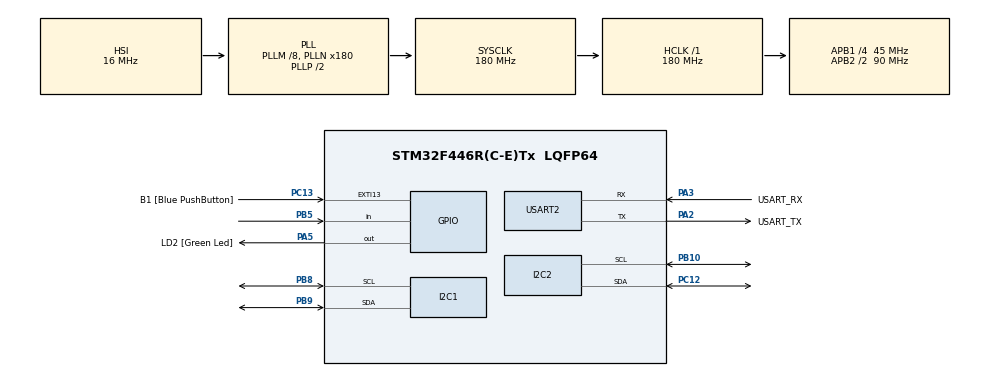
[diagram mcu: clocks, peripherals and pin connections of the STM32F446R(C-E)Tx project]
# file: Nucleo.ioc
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I2C2.I2C_Mode=I2C_Fast
Mcu.Family=STM32F4
Mcu.Name=STM32F446R(C-E)Tx
Mcu.Package=LQFP64
NVIC.I2C1_ER_IRQn=true\:0\:0\:false\:false\:true\:true\:true\:true
NVIC.I2C1_EV_IRQn=true\:0\:0\:false\:false\:true\:true\:true\:true
NVIC.I2C2_ER_IRQn=true\:0\:0\:false\:false\:true\:true\:true\:true
NVIC.I2C2_EV_IRQn=true\:0\:0\:false\:false\:true\:true\:true\:true
NVIC.PriorityGroup=NVIC_PRIORITYGROUP_0
NVIC.USART2_IRQn=true\:0\:0\:false\:false\:true\:true\:true\:true
PA13.GPIO_Label=TMS
PA13.Mode=Serial_Wire
PA13.Signal=SYS_JTMS-SWDIO
PA14.GPIO_Label=TCK
PA14.Mode=Serial_Wire
PA14.Signal=SYS_JTCK-SWCLK
PA2.GPIO_Label=USART_TX
PA2.Mode=Asynchronous
PA2.Signal=USART2_TX
PA3.GPIO_Label=USART_RX
PA3.Mode=Asynchronous
PA3.Signal=USART2_RX
PA5.GPIO_Label=LD2 [Green Led]
PA5.PinState=GPIO_PIN_SET
PA5.Signal=GPIO_Output
PB10.Mode=I2C
PB10.Signal=I2C2_SCL
PB3.GPIO_Label=SWO
PB3.Signal=SYS_JTDO-SWO
PB5.Signal=GPIO_Input
PB8.Mode=I2C
PB8.Signal=I2C1_SCL
PB9.Mode=I2C
PB9.Signal=I2C1_SDA
PC12.Mode=I2C
PC12.Signal=I2C2_SDA
PC13.GPIO_Label=B1 [Blue PushButton]
PC13.GPIO_ModeDefaultEXTI=GPIO_MODE_IT_FALLING
PC13.Signal=GPXTI13
PC14-OSC32_IN.Signal=RCC_OSC32_IN
PC15-OSC32_OUT.Signal=RCC_OSC32_OUT
PH0-OSC_IN.Mode=HSE-External-Oscillator
PH0-OSC_IN.Signal=RCC_OSC_IN
PH1-OSC_OUT.Mode=HSE-External-Oscillator
PH1-OSC_OUT.Signal=RCC_OSC_OUT
ProjectManager.HeapSize=0x200
ProjectManager.StackSize=0x400
ProjectManager.TargetToolchain=MDK-ARM V5.32
RCC.AHBFreq_Value=180000000
RCC.APB1CLKDivider=RCC_HCLK_DIV4
RCC.APB1Freq_Value=45000000
RCC.APB1TimFreq_Value=90000000
RCC.APB2CLKDivider=RCC_HCLK_DIV2
RCC.APB2Freq_Value=90000000
RCC.APB2TimFreq_Value=180000000
RCC.CortexFreq_Value=180000000
RCC.FLatency-AdvancedSettings=FLASH_LATENCY_5
RCC.HCLKFreq_Value=180000000
RCC.HSE_VALUE=8000000
RCC.HSI_VALUE=16000000
RCC.PLLM=8
RCC.PLLN=180
RCC.SYSCLKFreq_VALUE=180000000
RCC.SYSCLKSource=RCC_SYSCLKSOURCE_PLLCLK
RCC.USBFreq_Value=180000000
RCC.VCOOutputFreq_Value=360000000
USART2.VirtualMode=VM_ASYNC
board=NUCLEO-F446RE

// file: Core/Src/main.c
/* USER CODE BEGIN Header */
/**
  ******************************************************************************
  * @file           : main.c
  * @brief          : Main program body
  ******************************************************************************
  * @attention
  *
  * Copyright (c) 2025 STMicroelectronics.
  * All rights reserved.
  *
  * This software is licensed under terms that can be found in the LICENSE file
  * in the root directory of this software component.
  * If no LICENSE file comes with this software, it is provided AS-IS.
  *
  ******************************************************************************
  */
/* USER CODE END Header */
#include "main.h"
#include "i2c.h"
#include "usart.h"
#include "gpio.h"

/* USER CODE BEGIN Includes */
#include <stdio.h>
#include "receive.h"
#include "ssd1306.h"
#include "fonts.h"
#include "MPU6050.h"
/* USER CODE END Includes */

/* USER CODE BEGIN PD */
const unsigned char image_array[] = {
	0x00, 0x00, 0x00, 0x00, 0x00, 0x00, 0x00, 0x00, 0x00, 0x00, 0x00, 0x1f, 0xff, 0xff, 0xff, 0xff,
	0xff, 0xff, 0xff, 0xff, 0xff, 0xff, 0xff, 0xff, 0xff, 0xff, 0xff, 0xff, 0xff, 0xff, 0xff, 0xff,
	0xff, 0xff, 0xff, 0xff, 0xff, 0xff, 0xff, 0xff, 0xff, 0xff, 0xff, 0xe0, 0x00, 0x00, 0x03, 0xff,
	0xff, 0xff, 0xff, 0xff, 0xff, 0xff, 0xfe, 0xff, 0xff, 0xff, 0xff, 0xff, 0xff, 0xff, 0xff, 0xff,
	0xff, 0xff, 0xff, 0xff, 0xff, 0xff, 0xff, 0xff, 0xff, 0xff, 0xff, 0xff, 0xff, 0xff, 0xff, 0xff,
	0xff, 0xff, 0xff, 0xff, 0xff, 0xff, 0xff, 0xff, 0xff, 0xff, 0xff, 0xff, 0xff, 0xff, 0xff, 0xff,
	0xff, 0xff, 0xff, 0xff, 0xff, 0xff, 0xff, 0xff, 0xff, 0xff, 0xff, 0xff, 0xff, 0xff, 0xff, 0xff,
	0xff, 0xff, 0xff, 0xff, 0xff, 0xff, 0xff, 0xff, 0xff, 0xff, 0xff, 0xff, 0xff, 0xff, 0xff, 0xff,
	0xff, 0xff, 0xff, 0xff, 0xff, 0xff, 0xff, 0xff, 0xff, 0xff, 0xff, 0xff, 0xff, 0xff, 0xff, 0xff,
	0xff, 0xff, 0xff, 0xff, 0xff, 0xff, 0xff, 0xff, 0xff, 0xff, 0xff, 0xff, 0xff, 0xff, 0xff, 0xff,
	0xff, 0xff, 0xff, 0xff, 0xff, 0xff, 0xff, 0xef, 0xff, 0xff, 0xff, 0xff, 0xff, 0xff, 0xff, 0xff,
	0xff, 0xff, 0xff, 0xff, 0xff, 0xff, 0xf0, 0x00, 0x0f, 0xff, 0xff, 0xff, 0xff, 0xff, 0xff, 0xff,
	0xff, 0xff, 0xff, 0xff, 0xff, 0xff, 0x80, 0x00, 0x03, 0xff, 0xff, 0xff, 0xff, 0xff, 0xff, 0xff,
	0xff, 0xff, 0xff, 0xff, 0xff, 0xff, 0x00, 0x00, 0x00, 0xff, 0xff, 0xff, 0xff, 0xff, 0xff, 0xff,
	0xff, 0xff, 0xff, 0xff, 0xff, 0xfe, 0x00, 0x00, 0x00, 0x7f, 0xff, 0xff, 0xff, 0xff, 0xff, 0xff,
	0xff, 0xff, 0xff, 0xff, 0xff, 0xfc, 0x00, 0x00, 0x00, 0x3f, 0xff, 0xff, 0xff, 0xff, 0xff, 0xff,
	0xff, 0xff, 0xff, 0xff, 0xff, 0xfc, 0x00, 0x00, 0x00, 0x1f, 0xff, 0xff, 0xff, 0xff, 0xff, 0xff,
	0xff, 0xff, 0xff, 0xff, 0xff, 0xf8, 0x00, 0x00, 0x00, 0x0f, 0xff, 0xff, 0xff, 0xff, 0xff, 0xff,
	0xff, 0xff, 0xff, 0xff, 0xff, 0xf8, 0x00, 0x00, 0x00, 0x07, 0xff, 0xff, 0xff, 0xff, 0xff, 0xff,
	0xff, 0xff, 0xff, 0xff, 0xff, 0xf0, 0x00, 0x00, 0x00, 0x07, 0xff, 0xff, 0xff, 0xff, 0xff, 0xff,
	0xff, 0xff, 0xff, 0xff, 0xff, 0xf0, 0x38, 0x00, 0x00, 0x07, 0xff, 0xff, 0xff, 0xff, 0xff, 0xff,
	0xff, 0xff, 0xff, 0xff, 0xff, 0xf0, 0x70, 0x01, 0xc0, 0x07, 0xff, 0xff, 0xff, 0xff, 0xff, 0xff,
	0xff, 0xff, 0xff, 0xff, 0xff, 0xf0, 0xc0, 0x00, 0x00, 0x07, 0xff, 0xdf, 0xff, 0xff, 0xff, 0xff,
	0xff, 0xff, 0xff, 0xff, 0xff, 0xf1, 0xd8, 0x00, 0x00, 0x07, 0xff, 0xdf, 0xff, 0xff, 0xff, 0xff,
	0xff, 0xff, 0xff, 0xff, 0xff, 0xf1, 0x80, 0x00, 0x00, 0x0f, 0xff, 0xdf, 0xff, 0xff, 0xff, 0xff,
	0xff, 0xff, 0xff, 0xff, 0xff, 0xf2, 0x70, 0x10, 0x00, 0x0f, 0xff, 0xdf, 0xff, 0xff, 0xff, 0xff,
	0xff, 0xff, 0xff, 0xff, 0xff, 0xf3, 0x7f, 0x83, 0x00, 0x0f, 0xff, 0xdf, 0xff, 0xff, 0xff, 0xff,
	0xff, 0xff, 0xff, 0xff, 0xff, 0xf3, 0xff, 0x3b, 0xf8, 0x0f, 0xff, 0xdf, 0xff, 0xff, 0xff, 0xff,
	0xff, 0xff, 0xff, 0xff, 0xff, 0xf3, 0xf0, 0xe4, 0xf8, 0x0f, 0xff, 0xdf, 0xff, 0xff, 0xff, 0xff,
	0xff, 0xff, 0xff, 0xff, 0xff, 0xfb, 0xf0, 0x00, 0x00, 0x0f, 0xff, 0xdf, 0xff, 0xff, 0xff, 0xff,
	0xff, 0xff, 0xff, 0xff, 0xff, 0xff, 0xc7, 0x80, 0x00, 0x1f, 0xff, 0xdf, 0xff, 0xff, 0xff, 0xff,
	0xff, 0xff, 0xff, 0xff, 0xff, 0xff, 0xf8, 0x03, 0x00, 0x1f, 0xff, 0xdf, 0xff, 0xff, 0xff, 0xff,
	0xff, 0xff, 0xff, 0xff, 0xff, 0xff, 0xf1, 0xf8, 0x00, 0x3f, 0xff, 0xdf, 0xff, 0xff, 0xff, 0xff,
	0xff, 0xff, 0xff, 0xff, 0xff, 0xff, 0xf7, 0x81, 0x01, 0xff, 0xff, 0xdf, 0xff, 0xff, 0xff, 0xff,
	0xff, 0xff, 0xff, 0xff, 0xff, 0xff, 0xc0, 0x00, 0x01, 0xff, 0xff, 0xdf, 0xff, 0xff, 0xff, 0xff,
	0xff, 0xff, 0xff, 0xff, 0xff, 0xff, 0x80, 0x00, 0x03, 0xff, 0xff, 0xdf, 0xff, 0xff, 0xff, 0xff,
	0xff, 0xff, 0xff, 0xff, 0xff, 0xff, 0xc0, 0x00, 0x07, 0xff, 0xff, 0xdf, 0xff, 0xff, 0xff, 0xff,
	0xff, 0xff, 0xff, 0xff, 0xff, 0xff, 0xc0, 0x00, 0x07, 0xff, 0xff, 0xdf, 0xff, 0xff, 0xff, 0xff,
	0xff, 0xff, 0xff, 0xff, 0xff, 0xff, 0xc0, 0x00, 0x07, 0xff, 0xff, 0xdf, 0xff, 0xff, 0xff, 0xff,
	0xff, 0xff, 0xff, 0xff, 0xff, 0xff, 0xc0, 0x00, 0x07, 0xff, 0xff, 0xdf, 0xff, 0xff, 0xff, 0xff,
	0xff, 0xff, 0xff, 0xff, 0xff, 0xff, 0xc0, 0x00, 0x07, 0xff, 0xff, 0xdf, 0xff, 0xff, 0xff, 0xff,
	0xff, 0xff, 0xff, 0xff, 0xff, 0xff, 0xc3, 0x00, 0x03, 0xff, 0xff, 0xdf, 0xff, 0xff, 0xff, 0xff,
	0xff, 0xff, 0xff, 0xff, 0xff, 0xc7, 0xc3, 0xe0, 0x01, 0xff, 0xff, 0xdf, 0xff, 0xff, 0xff, 0xff,
	0xff, 0xff, 0xff, 0xff, 0xfe, 0x0f, 0xc0, 0xf8, 0x00, 0x0f, 0xff, 0xdf, 0xff, 0xff, 0xff, 0xff,
	0xff, 0xff, 0xff, 0xff, 0xf0, 0x0f, 0xc0, 0x7e, 0x00, 0x00, 0xff, 0xdf, 0xff, 0xff, 0xff, 0xff,
	0xff, 0xff, 0xff, 0xfe, 0x00, 0x07, 0xc0, 0x19, 0x80, 0x00, 0x1f, 0xdf, 0xff, 0xff, 0xff, 0xff,
	0xff, 0xff, 0xff, 0xfc, 0x00, 0x03, 0xf0, 0x04, 0xc0, 0x00, 0x03, 0xdf, 0xff, 0xff, 0xff, 0xff,
	0xff, 0xff, 0xff, 0xfc, 0x00, 0x01, 0xfe, 0x02, 0x74, 0x00, 0x01, 0xdf, 0xff, 0xff, 0xff, 0xff,
	0xff, 0xff, 0xff, 0xfc, 0x00, 0x00, 0x9d, 0xc0, 0x18, 0x00, 0x00, 0xff, 0xff, 0xff, 0xff, 0xff,
	0xff, 0xff, 0xff, 0xf8, 0x00, 0x00, 0xe4, 0x78, 0x1e, 0x00, 0x00, 0xff, 0xff, 0xff, 0xff, 0xff,
	0xff, 0xff, 0xff, 0xf8, 0x00, 0x00, 0x78, 0x8c, 0x01, 0x00, 0x01, 0xff, 0xff, 0xff, 0xff, 0xff,
	0xff, 0xff, 0xff, 0xf8, 0x00, 0x00, 0x30, 0x13, 0xc0, 0xc0, 0x01, 0xff, 0xff, 0xff, 0xff, 0xff,
	0xff, 0xff, 0xff, 0xf0, 0x01, 0xf8, 0xc0, 0x00, 0x00, 0x60, 0x01, 0xff, 0xff, 0xff, 0xff, 0xff,
	0xff, 0xff, 0xff, 0xf0, 0x16, 0x68, 0x70, 0x80, 0x80, 0x30, 0x01, 0xff, 0x7f, 0xff, 0xff, 0xff,
	0xff, 0xff, 0xff, 0xe0, 0x16, 0xe8, 0x30, 0x10, 0x00, 0x18, 0x01, 0xff, 0xff, 0xff, 0xff, 0xff,
	0xff, 0xff, 0xff, 0xe0, 0x12, 0x68, 0x00, 0x00, 0x00, 0x1c, 0x03, 0xff, 0xff, 0xff, 0xff, 0xff,
	0xff, 0xff, 0xff, 0xc0, 0x1c, 0x00, 0x00, 0x00, 0x00, 0x0e, 0x03, 0xff, 0x3f, 0xff, 0xff, 0xff,
	0xff, 0xff, 0xff, 0x80, 0x00, 0x00, 0x00, 0x10, 0x00, 0x07, 0x03, 0xff, 0x3f, 0xff, 0xff, 0xff,
	0xff, 0xff, 0xff, 0x80, 0x00, 0x00, 0x00, 0x06, 0x00, 0x00, 0x87, 0xff, 0x3f, 0xff, 0xff, 0xff,
	0xff, 0xff, 0xff, 0x80, 0x00, 0x00, 0x00, 0x01, 0xfc, 0x00, 0x0f, 0xff, 0x3f, 0xff, 0xff, 0xff,
	0xff, 0xff, 0xff, 0x80, 0x0e, 0xf7, 0x9d, 0xe2, 0x3a, 0x00, 0x3f, 0xfe, 0x3f, 0xff, 0xff, 0xff,
	0xff, 0xff, 0xff, 0x80, 0xf0, 0x1a, 0x10, 0x80, 0x57, 0x00, 0x1f, 0xff, 0x3f, 0xff, 0xff, 0xff,
	0xff, 0xff, 0xff, 0x00, 0x77, 0x7b, 0xde, 0xf0, 0xda, 0x80, 0x0f, 0xff, 0x1f, 0xff, 0xff, 0xff,
	0xff, 0xff, 0xff, 0x00, 0x79, 0xad, 0x7b, 0x58, 0x6b, 0x60, 0x07, 0xff, 0x1f, 0xff, 0xff, 0xff
};

/* USER CODE END PD */

/* USER CODE BEGIN PV */
extern I2C_HandleTypeDef hi2c1;
extern uint8_t rx_buff[20]; //这是为什么

/* USER CODE END PV */

void SystemClock_Config(void);

int main(void)
{

  /* MCU Configuration--------------------------------------------------------*/

  /* Reset of all peripherals, Initializes the Flash interface and the Systick. */
  HAL_Init();

  /* Configure the system clock */
  SystemClock_Config();

  /* Initialize all configured peripherals */
  MX_GPIO_Init();
  MX_USART2_UART_Init();
  MX_I2C1_Init();
  MX_I2C2_Init();
  /* USER CODE BEGIN 2 */
	HAL_UART_Receive_IT(&huart2,rx_buff,1);
	MPU6050_Initialization();
	ssd1306_Init();
  /* USER CODE END 2 */

  /* Infinite loop */
  while (1)
  {

    /* USER CODE BEGIN 3 */
		printf("I did it \r\n");
		HAL_Delay(500);
		uart_task();
		HAL_GPIO_WritePin(LD2_GPIO_Port, LD2_Pin, GPIO_PIN_SET);
		//ssd1306_SetCursor(0,0);
//		ssd1306_WriteString("Hello World",Font_11x18,1);
//		ssd1306_SetCursor(0,18);
//		ssd1306_WriteString("OLED Test",Font_11x18,1);
		//ssd1306_SetCursor(0,36);
		//ssd1306_UpdateScreen();
		//SSD1306_DrawBitmap(0,0,image_array,128,64,1);
		//ssd1306_UpdateScreen();
		//HAL_Delay(500);
		SSD1306_ClearScreen();
		ssd1306_SetCursor(0, 0);
		ssd1306_WriteString("MPU6050 Data", Font_7x10, 1);
		printf("%d\n",MPU6050_DataReady());
		if(MPU6050_DataReady() == 1)
		{
			MPU6050_ProcessData(&MPU6050);
			char buffer[64];
			printf("%f, %f, %f\n", MPU6050.acc_x, MPU6050.acc_y, MPU6050.acc_z);
			printf("%f, %f, %f\n", MPU6050.gyro_x, MPU6050.gyro_y, MPU6050.gyro_z);
			printf("%d, %d, %d\n", MPU6050.acc_x_raw, MPU6050.acc_y_raw, MPU6050.acc_z_raw);
			ssd1306_SetCursor(0, 12);
			sprintf(buffer, "Acc: %.2f, %.2f, %.2f", MPU6050.acc_x, MPU6050.acc_y, MPU6050.acc_z);
			ssd1306_WriteString(buffer, Font_7x10, 1);

			// 显示陀螺仪数据
			ssd1306_SetCursor(0, 24);
			sprintf(buffer, "Gyro: %.2f, %.2f, %.2f", MPU6050.gyro_x, MPU6050.gyro_y, MPU6050.gyro_z);
			ssd1306_WriteString(buffer, Font_7x10, 1);

			// 显示原始数据
			ssd1306_SetCursor(0, 36);
			sprintf(buffer, "Raw: %d, %d, %d", MPU6050.acc_x_raw, MPU6050.acc_y_raw, MPU6050.acc_z_raw);
			ssd1306_WriteString(buffer, Font_7x10, 1);
		}
		ssd1306_UpdateScreen();
  }
  /* USER CODE END 3 */
}

void SystemClock_Config(void)
{
  RCC_OscInitTypeDef RCC_OscInitStruct = {0};
  RCC_ClkInitTypeDef RCC_ClkInitStruct = {0};

  /** Configure the main internal regulator output voltage
  */
  __HAL_RCC_PWR_CLK_ENABLE();
  __HAL_PWR_VOLTAGESCALING_CONFIG(PWR_REGULATOR_VOLTAGE_SCALE1);

  /** Initializes the RCC Oscillators according to the specified parameters
  * in the RCC_OscInitTypeDef structure.
  */
  RCC_OscInitStruct.OscillatorType = RCC_OSCILLATORTYPE_HSI;
  RCC_OscInitStruct.HSIState = RCC_HSI_ON;
  RCC_OscInitStruct.HSICalibrationValue = RCC_HSICALIBRATION_DEFAULT;
  RCC_OscInitStruct.PLL.PLLState = RCC_PLL_ON;
  RCC_OscInitStruct.PLL.PLLSource = RCC_PLLSOURCE_HSI;
  RCC_OscInitStruct.PLL.PLLM = 8;
  RCC_OscInitStruct.PLL.PLLN = 180;
  RCC_OscInitStruct.PLL.PLLP = RCC_PLLP_DIV2;
  RCC_OscInitStruct.PLL.PLLQ = 2;
  RCC_OscInitStruct.PLL.PLLR = 2;
  if (HAL_RCC_OscConfig(&RCC_OscInitStruct) != HAL_OK)
  {
    Error_Handler();
  }

  /** Activate the Over-Drive mode
  */
  if (HAL_PWREx_EnableOverDrive() != HAL_OK)
  {
    Error_Handler();
  }

  /** Initializes the CPU, AHB and APB buses clocks
  */
  RCC_ClkInitStruct.ClockType = RCC_CLOCKTYPE_HCLK|RCC_CLOCKTYPE_SYSCLK
                              |RCC_CLOCKTYPE_PCLK1|RCC_CLOCKTYPE_PCLK2;
  RCC_ClkInitStruct.SYSCLKSource = RCC_SYSCLKSOURCE_PLLCLK;
  RCC_ClkInitStruct.AHBCLKDivider = RCC_SYSCLK_DIV1;
  RCC_ClkInitStruct.APB1CLKDivider = RCC_HCLK_DIV4;
  RCC_ClkInitStruct.APB2CLKDivider = RCC_HCLK_DIV2;

  if (HAL_RCC_ClockConfig(&RCC_ClkInitStruct, FLASH_LATENCY_5) != HAL_OK)
  {
    Error_Handler();
  }
}

/* USER CODE BEGIN 4 */
int fputc(int ch, FILE *stream)
{
	HAL_UART_Transmit(&huart2,(uint8_t*) &ch,1,10);

	return ch;

}
/* USER CODE END 4 */

void Error_Handler(void)
{
  __disable_irq();
  while (1)
  {
  }
}
